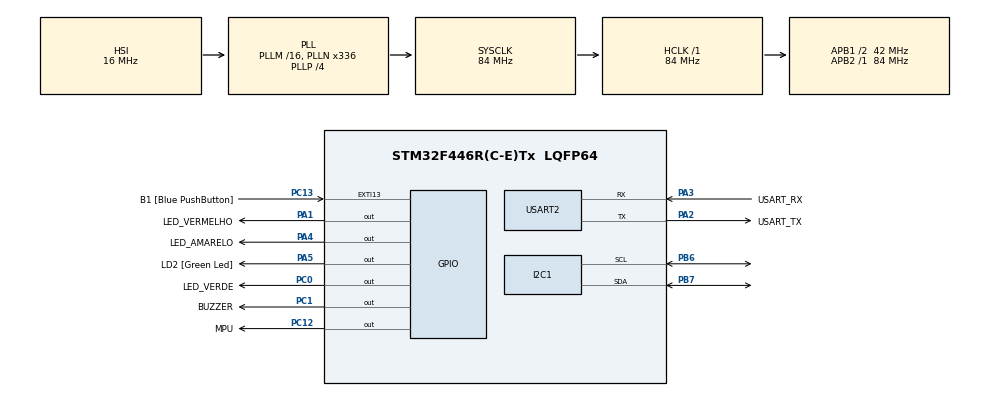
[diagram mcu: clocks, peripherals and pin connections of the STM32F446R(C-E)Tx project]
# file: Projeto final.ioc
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I2C1.I2C_Mode=I2C_Fast
Mcu.Family=STM32F4
Mcu.Name=STM32F446R(C-E)Tx
Mcu.Package=LQFP64
NVIC.PriorityGroup=NVIC_PRIORITYGROUP_0
NVIC.TIM2_IRQn=true\:0\:0\:false\:false\:true\:true\:true\:true
NVIC.USART2_IRQn=true\:0\:0\:false\:false\:true\:true\:true\:true
PA0-WKUP.Mode=SYS_WakeUp0
PA0-WKUP.Signal=SYS_WKUP0
PA1.GPIO_Label=LED_VERMELHO
PA1.Signal=GPIO_Output
PA13.GPIO_Label=TMS
PA13.Mode=Serial_Wire
PA13.Signal=SYS_JTMS-SWDIO
PA14.GPIO_Label=TCK
PA14.Mode=Serial_Wire
PA14.Signal=SYS_JTCK-SWCLK
PA2.GPIO_Label=USART_TX
PA2.Mode=Asynchronous
PA2.Signal=USART2_TX
PA3.GPIO_Label=USART_RX
PA3.Mode=Asynchronous
PA3.Signal=USART2_RX
PA4.GPIO_Label=LED_AMARELO
PA4.Signal=GPIO_Output
PA5.GPIO_Label=LD2 [Green Led]
PA5.Signal=GPIO_Output
PB3.GPIO_Label=SWO
PB3.Signal=SYS_JTDO-SWO
PB6.GPIO_Pu=GPIO_PULLUP
PB6.Mode=I2C
PB6.Signal=I2C1_SCL
PB7.GPIO_Pu=GPIO_PULLUP
PB7.Mode=I2C
PB7.Signal=I2C1_SDA
PC0.GPIO_Label=LED_VERDE
PC0.Signal=GPIO_Output
PC1.GPIO_Label=BUZZER
PC1.Signal=GPIO_Output
PC12.GPIO_Label=MPU
PC12.Signal=GPIO_Output
PC13.GPIO_Label=B1 [Blue PushButton]
PC13.GPIO_ModeDefaultEXTI=GPIO_MODE_IT_FALLING
PC13.Signal=GPXTI13
PC14-OSC32_IN.Mode=LSE-External-Oscillator
PC14-OSC32_IN.Signal=RCC_OSC32_IN
PC15-OSC32_OUT.Mode=LSE-External-Oscillator
PC15-OSC32_OUT.Signal=RCC_OSC32_OUT
PH0-OSC_IN.Mode=HSE-External-Oscillator
PH0-OSC_IN.Signal=RCC_OSC_IN
PH1-OSC_OUT.Mode=HSE-External-Oscillator
PH1-OSC_OUT.Signal=RCC_OSC_OUT
ProjectManager.HeapSize=0x200
ProjectManager.StackSize=0x400
ProjectManager.TargetToolchain=STM32CubeIDE
RCC.48MHZClocksFreq_Value=84000000
RCC.AHBFreq_Value=84000000
RCC.APB1CLKDivider=RCC_HCLK_DIV2
RCC.APB1Freq_Value=42000000
RCC.APB1TimFreq_Value=84000000
RCC.APB2Freq_Value=84000000
RCC.APB2TimFreq_Value=84000000
RCC.CortexFreq_Value=84000000
RCC.FLatency-AdvancedSettings=FLASH_LATENCY_2
RCC.HCLKFreq_Value=84000000
RCC.HSE_VALUE=8000000
RCC.HSI_VALUE=16000000
RCC.PLLN=336
RCC.PLLP=RCC_PLLP_DIV4
RCC.RCC_RTC_Clock_SourceVirtual=RCC_RTCCLKSOURCE_LSE
RCC.SYSCLKFreq_VALUE=84000000
RCC.SYSCLKSource=RCC_SYSCLKSOURCE_PLLCLK
RCC.USBFreq_Value=168000000
RCC.VCOOutputFreq_Value=336000000
RTC.WakeUpClock=RTC_WAKEUPCLOCK_CK_SPRE_16BITS
RTC.WakeUpCounter=9
TIM2.Period=4000-1
TIM2.Prescaler=83
USART2.VirtualMode=VM_ASYNC
VP_RTC_VS_RTC_Activate.Mode=RTC_Enabled
VP_RTC_VS_RTC_Calendar.Mode=RTC_Calendar
VP_RTC_VS_RTC_WakeUp_intern.Mode=WakeUp
VP_TIM2_VS_ClockSourceINT.Mode=Internal
board=NUCLEO-F446RE

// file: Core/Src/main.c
/* USER CODE BEGIN Header */
/**
  ******************************************************************************
  * @file           : main.c
  * @brief          : Main program body
  ******************************************************************************
  * @attention
  *
  * Copyright (c) 2026 STMicroelectronics.
  * All rights reserved.
  *
  * This software is licensed under terms that can be found in the LICENSE file
  * in the root directory of this software component.
  * If no LICENSE file comes with this software, it is provided AS-IS.
  *
  ******************************************************************************
  */
/* USER CODE END Header */
#include "main.h"

/* USER CODE BEGIN Includes */
#include <stdio.h>
#include <stdarg.h>
#include <string.h>
#include <stdint.h>

#include "MPU6050.h"
#include "ei_wrapper.h"
#include "RMS.h"

/* USER CODE END Includes */

/* USER CODE BEGIN PTD */
#define TEMPO_TURNO_SEGUNDOS  28800 // ou 28800 para 8 horas

#define AMOSTRAS_RMS 250
#define N_AMOSTRAS_IA (AMOSTRAS_RMS * 1 * 3)  // 750 = 250 amostras * 1 segundo * 3 param

#define MARGEM_RMS 1.1f // Limite tolerável de vibração (10%)

#define RMS_parado 10

/* USER CODE END PTD */

I2C_HandleTypeDef hi2c1;

RTC_HandleTypeDef hrtc;

TIM_HandleTypeDef htim2;

UART_HandleTypeDef huart2;

/* USER CODE BEGIN PV */
MPU6050_t mpu;

volatile uint8_t data_ready = 0;

//Buffer para guardar os dados para inferencia
float buffer_ia[N_AMOSTRAS_IA];
volatile int ind_buffer = 0;

//Buffer para guardar os dados para RMS
int buffer_rms_x[AMOSTRAS_RMS];
int buffer_rms_y[AMOSTRAS_RMS];
int buffer_rms_z[AMOSTRAS_RMS];
volatile int sample_index = 0;

const char* classes[] = {
		"instavel nivel 2", // indeciso
		"instavel nivel 3",
		"instavel nivel 1",
		"estavel",
		"instavel nivel 4", // indeciso
		"parado"
};
/* USER CODE END PV */

void SystemClock_Config(void);
static void MX_GPIO_Init(void);
static void MX_I2C1_Init(void);
static void MX_TIM2_Init(void);
static void MX_USART2_UART_Init(void);
static void MX_RTC_Init(void);

/* USER CODE BEGIN 0 */
void ei_printf(const char *format, ...) {
    // Não faz nada! Deixa a IA no modo silencioso.
}

int _write(int file, char *ptr, int len)
{
  // Função responsável por receber os dados da função printf() e enviar pela UART
    HAL_UART_Transmit(&huart2, (uint8_t*)ptr, len, HAL_MAX_DELAY);
    return len;
}

void emitir_sinal_alerta(){
	// Acende Leds e Buzzer para emitir um alerta
	HAL_GPIO_WritePin(GPIOC, BUZZER_Pin, GPIO_PIN_SET);
	HAL_Delay(500);

	HAL_GPIO_WritePin(GPIOA, LED_VERMELHO_Pin, GPIO_PIN_SET);
	HAL_Delay(1200);
	HAL_GPIO_WritePin(GPIOA, LED_VERMELHO_Pin, GPIO_PIN_RESET);
	HAL_Delay(1500);
	HAL_GPIO_WritePin(GPIOA, LED_VERMELHO_Pin, GPIO_PIN_SET);

	HAL_Delay(800);
	HAL_GPIO_WritePin(GPIOC, BUZZER_Pin, GPIO_PIN_RESET);
}

void emitir_sinal_atencao(){
	// Emite um sinal luminoso para indicar a realização de ações específicas

	HAL_GPIO_WritePin(GPIOA, LED_AMARELO_Pin, GPIO_PIN_SET);
	HAL_Delay(1500);
	HAL_GPIO_WritePin(GPIOA, LED_AMARELO_Pin, GPIO_PIN_RESET);
}

void emitir_sinal_sucesso(){
	// Emite um sinal luminoso para indicar que o sistema está funcionando corretamente
	HAL_GPIO_WritePin(GPIOC, LED_VERDE_Pin, GPIO_PIN_SET);
	HAL_Delay(1000);
	HAL_GPIO_WritePin(GPIOC, LED_VERDE_Pin, GPIO_PIN_RESET);
}

/* USER CODE END 0 */

int main(void)
{

  /* MCU Configuration--------------------------------------------------------*/

  /* Reset of all peripherals, Initializes the Flash interface and the Systick. */
  HAL_Init();

  /* Configure the system clock */
  SystemClock_Config();

  /* Initialize all configured peripherals */
  MX_GPIO_Init();
  MX_I2C1_Init();
  MX_TIM2_Init();
  MX_USART2_UART_Init();
  MX_RTC_Init();
  /* USER CODE BEGIN 2 */
    HAL_GPIO_WritePin(GPIOC, MPU_Pin, GPIO_PIN_SET); // Liga o MPU pelo transistor
    HAL_Delay(200);

	MPU6050_Init(&mpu, &hi2c1);

	uint8_t Data = 0;
	HAL_I2C_Mem_Write(&hi2c1, MPU6050_ADDR, 0x6B, 1, &Data, 1, 100); // Tira do Sleep
	HAL_I2C_Mem_Write(&hi2c1, MPU6050_ADDR, 0x19, 1, &Data, 1, 100); // Sample rate 1kHz

	HAL_Delay(200);

	if (HAL_I2C_IsDeviceReady(&hi2c1, 0x68 << 1, 3, 100) == HAL_OK){ // se o MPU está funcionando

		emitir_sinal_atencao();
		HAL_Delay(200);
		emitir_sinal_atencao();

		HAL_TIM_Base_Start_IT(&htim2); // Ativa o timer 2
		HAL_PWR_EnableBkUpAccess(); // Ativa o acesso aos dados de backup

		// Lê os dados do MPU
		uint8_t reading_sensor = 1;
		while (reading_sensor) {
			  if (data_ready == 1 && ind_buffer < N_AMOSTRAS_IA) {

				// Atualiza as leituras (Accel e Gyro)
				MPU6050_Update(&mpu);

				// Obtem os dados do MPU
				int ac_x = (int)(mpu.Ax * 1000.0f);
				int ac_y = (int)(mpu.Ay * 1000.0f);
				int ac_z = (int)(mpu.Az * 1000.0f);

				// Guarda os dados coletados nos buffers
				buffer_ia[ind_buffer++] = (float)ac_x;
				buffer_ia[ind_buffer++] = (float)ac_y;
				buffer_ia[ind_buffer++] = (float)ac_z;

				buffer_rms_x[sample_index] = ac_x;
				buffer_rms_y[sample_index] = ac_y;
				buffer_rms_z[sample_index] = ac_z;
				sample_index++;

				// Quando o buffer estiver cheio, sae do loop e faz a inferencia
				if (ind_buffer >= N_AMOSTRAS_IA){
					reading_sensor = 0;
				}

				printf("{\"status\": \"RAW_DATA\", \"message\": \"\", \"data\": {\"x\": %d, \"y\": %d, \"z\": %d} }\r\n", ac_x, ac_y, ac_z);

				data_ready = 0; // baixa a flag
			  }
		}

		HAL_TIM_Base_Stop_IT(&htim2); // para o timer 2
		HAL_Delay(100);

		int result = executar_inferencia(buffer_ia);
		int RMS = calcular_RMS(buffer_rms_x, buffer_rms_y, buffer_rms_z, (int)AMOSTRAS_RMS);

		ind_buffer = 0;
		sample_index = 0;

		// Verifica se o micro acordou pelo standby
		if (__HAL_PWR_GET_FLAG(PWR_FLAG_SB) != RESET){
			// Limpa as flags de Standby e Wakeup
			__HAL_PWR_CLEAR_FLAG(PWR_FLAG_SB);
			__HAL_PWR_CLEAR_FLAG(PWR_FLAG_WU);

			// Começa a parte da decisão do estado do motor
			// Lê o RMS calibrado salvo no RTC Backup Register 1
			uint32_t valor_lido_flash = HAL_RTCEx_BKUPRead(&hrtc, RTC_BKP_DR1);
			int rms_calibrado = (int)valor_lido_flash;

			// Verifica se houve erro durante a calibração
			if (rms_calibrado <= 0){
				printf("{\"status\": \"ERRO\", \"message\": \"RMS Nao Calibrado. Necessario Nova Calibracao. Reset o Sistema\"}\r\n");
				emitir_sinal_alerta();
				HAL_Delay(200);
				emitir_sinal_alerta();

			} else {
				// Se está tudo certo com a calibração
				float rms_error = (rms_calibrado * MARGEM_RMS);

				if ((result == 3 || result == 5) && RMS <= rms_error){
					// Motor parado e RMS dentro da margem aceitável
					printf("{\"status\": \"OK\", \"message\": \"Motor e RMS Estaveis\", \"data\": {\"RMS\": %d, \"RMS_medio\": %d, \"RMS_limite\": %d, \"Classe\": \"%s\"}}\r\n",
					       RMS, (int)rms_calibrado, (int)rms_error, "Estavel");
					emitir_sinal_sucesso();
					HAL_Delay(200);
					emitir_sinal_sucesso();
				}

				else if ((result != 3 && result != 5) && RMS > rms_error){
					// Motor Instável e RMS Instável
					printf("{\"status\": \"ERRO\", \"message\": \"Motor e RMS Instavels. Verificar Saude do Motor\", \"data\": {\"RMS\": %d,  \"RMS_medio\": %d, \"RMS_limite\": %d, \"Classe\": \"%s\"}}\r\n",
					       RMS,(int)rms_calibrado, (int)rms_error, "Instavel");
					emitir_sinal_alerta();
					HAL_Delay(200);
					emitir_sinal_alerta();
				}

				else {
					// Falha na Inferência do Motor ou do Calculo do RMS
					// Pode indicar inicio de anomalia
					printf("{\"status\": \"ERRO\", \"message\": \"Motor OU RMS Instavels. Falha em uma das Leituras. Verificar Saude do Motor e do Sistema\", \"data\": {\"RMS\": %d,  \"RMS_medio\": %d, \"RMS_limite\": %d, \"Classe\": \"%s\"}}\r\n",
					       RMS, (int)rms_calibrado, (int)rms_error, classes[result]);
					emitir_sinal_alerta();
					HAL_Delay(200);
					emitir_sinal_alerta();
				}
			}

		} else { 	// Primeia vez ligado ou Reset de hardware
			// Calibra o RMS para o valor decidido pelo TinyML
			HAL_Delay(5000);

			printf("{\"status\": \"OK\", \"message\": \"Iniciando Calibracao do Sistema\"}\r\n");

				// Salva o RMS correspondente ao estado estável do motor em um registrador de backup
				uint32_t valor_para_salvar = (uint32_t)RMS;
				HAL_RTCEx_BKUPWrite(&hrtc, RTC_BKP_DR1, valor_para_salvar);

				// Indica fim de calibração
				printf("{\"status\": \"OK\", \"message\": \"RMS Calibrado para Motor Estável\", \"data\": {\"RMS_medio\": %d}}\r\n", (int)RMS);

				emitir_sinal_sucesso();
				HAL_Delay(200);
				emitir_sinal_sucesso();
		}

	}
	else{
		// emitir alerta para reset do MPU
		printf("{\"status\": \"ERRO\", \"message\": \"MPU Nao Detectado. Atencao Imediata\"}\r\n");

		__HAL_PWR_CLEAR_FLAG(PWR_FLAG_SB); // Reseta flag de wakeup

		emitir_sinal_alerta();
		HAL_Delay(200);
		emitir_sinal_alerta();

	}

	HAL_Delay(100);

	printf("{\"status\": \"OK\", \"message\": \"Entrando em StandBy\"}\r\n");

	HAL_GPIO_WritePin(GPIOC, MPU_Pin, GPIO_PIN_RESET); // Desliga o MPU pelo transistor

	HAL_RTCEx_DeactivateWakeUpTimer(&hrtc);
	__HAL_PWR_CLEAR_FLAG(PWR_FLAG_WU);

	// Reseta as interrupções de Wakeup
	HAL_PWR_EnableWakeUpPin(PWR_WAKEUP_PIN1);
	HAL_RTCEx_SetWakeUpTimer_IT(&hrtc, TEMPO_TURNO_SEGUNDOS - 1, RTC_WAKEUPCLOCK_CK_SPRE_16BITS);

	// Entra em StandBy
	HAL_PWR_EnterSTANDBYMode();

  /* USER CODE END 2 */

  /* Infinite loop */
  while (1)
  {

  }
}

void SystemClock_Config(void)
{
  RCC_OscInitTypeDef RCC_OscInitStruct = {0};
  RCC_ClkInitTypeDef RCC_ClkInitStruct = {0};

  /** Configure the main internal regulator output voltage
  */
  __HAL_RCC_PWR_CLK_ENABLE();
  __HAL_PWR_VOLTAGESCALING_CONFIG(PWR_REGULATOR_VOLTAGE_SCALE3);

  /** Initializes the RCC Oscillators according to the specified parameters
  * in the RCC_OscInitTypeDef structure.
  */
  RCC_OscInitStruct.OscillatorType = RCC_OSCILLATORTYPE_HSI|RCC_OSCILLATORTYPE_LSE;
  RCC_OscInitStruct.LSEState = RCC_LSE_ON;
  RCC_OscInitStruct.HSIState = RCC_HSI_ON;
  RCC_OscInitStruct.HSICalibrationValue = RCC_HSICALIBRATION_DEFAULT;
  RCC_OscInitStruct.PLL.PLLState = RCC_PLL_ON;
  RCC_OscInitStruct.PLL.PLLSource = RCC_PLLSOURCE_HSI;
  RCC_OscInitStruct.PLL.PLLM = 16;
  RCC_OscInitStruct.PLL.PLLN = 336;
  RCC_OscInitStruct.PLL.PLLP = RCC_PLLP_DIV4;
  RCC_OscInitStruct.PLL.PLLQ = 2;
  RCC_OscInitStruct.PLL.PLLR = 2;
  if (HAL_RCC_OscConfig(&RCC_OscInitStruct) != HAL_OK)
  {
    Error_Handler();
  }

  /** Initializes the CPU, AHB and APB buses clocks
  */
  RCC_ClkInitStruct.ClockType = RCC_CLOCKTYPE_HCLK|RCC_CLOCKTYPE_SYSCLK
                              |RCC_CLOCKTYPE_PCLK1|RCC_CLOCKTYPE_PCLK2;
  RCC_ClkInitStruct.SYSCLKSource = RCC_SYSCLKSOURCE_PLLCLK;
  RCC_ClkInitStruct.AHBCLKDivider = RCC_SYSCLK_DIV1;
  RCC_ClkInitStruct.APB1CLKDivider = RCC_HCLK_DIV2;
  RCC_ClkInitStruct.APB2CLKDivider = RCC_HCLK_DIV1;

  if (HAL_RCC_ClockConfig(&RCC_ClkInitStruct, FLASH_LATENCY_2) != HAL_OK)
  {
    Error_Handler();
  }
}

static void MX_I2C1_Init(void)
{

  hi2c1.Instance = I2C1;
  hi2c1.Init.ClockSpeed = 400000;
  hi2c1.Init.DutyCycle = I2C_DUTYCYCLE_2;
  hi2c1.Init.OwnAddress1 = 0;
  hi2c1.Init.AddressingMode = I2C_ADDRESSINGMODE_7BIT;
  hi2c1.Init.DualAddressMode = I2C_DUALADDRESS_DISABLE;
  hi2c1.Init.OwnAddress2 = 0;
  hi2c1.Init.GeneralCallMode = I2C_GENERALCALL_DISABLE;
  hi2c1.Init.NoStretchMode = I2C_NOSTRETCH_DISABLE;
  if (HAL_I2C_Init(&hi2c1) != HAL_OK)
  {
    Error_Handler();
  }

}

static void MX_RTC_Init(void)
{

  RTC_TimeTypeDef sTime = {0};
  RTC_DateTypeDef sDate = {0};

  /** Initialize RTC Only
  */
  hrtc.Instance = RTC;
  hrtc.Init.HourFormat = RTC_HOURFORMAT_24;
  hrtc.Init.AsynchPrediv = 127;
  hrtc.Init.SynchPrediv = 255;
  hrtc.Init.OutPut = RTC_OUTPUT_DISABLE;
  hrtc.Init.OutPutPolarity = RTC_OUTPUT_POLARITY_HIGH;
  hrtc.Init.OutPutType = RTC_OUTPUT_TYPE_OPENDRAIN;
  if (HAL_RTC_Init(&hrtc) != HAL_OK)
  {
    Error_Handler();
  }

  /** Initialize RTC and set the Time and Date
  */
  sTime.Hours = 0x0;
  sTime.Minutes = 0x0;
  sTime.Seconds = 0x0;
  sTime.DayLightSaving = RTC_DAYLIGHTSAVING_NONE;
  sTime.StoreOperation = RTC_STOREOPERATION_RESET;
  if (HAL_RTC_SetTime(&hrtc, &sTime, RTC_FORMAT_BCD) != HAL_OK)
  {
    Error_Handler();
  }
  sDate.WeekDay = RTC_WEEKDAY_MONDAY;
  sDate.Month = RTC_MONTH_JANUARY;
  sDate.Date = 0x1;
  sDate.Year = 0x0;

  if (HAL_RTC_SetDate(&hrtc, &sDate, RTC_FORMAT_BCD) != HAL_OK)
  {
    Error_Handler();
  }

  /** Enable the WakeUp
  */
  if (HAL_RTCEx_SetWakeUpTimer(&hrtc, 9, RTC_WAKEUPCLOCK_CK_SPRE_16BITS) != HAL_OK)
  {
    Error_Handler();
  }

}

static void MX_TIM2_Init(void)
{

  TIM_ClockConfigTypeDef sClockSourceConfig = {0};
  TIM_MasterConfigTypeDef sMasterConfig = {0};

  htim2.Instance = TIM2;
  htim2.Init.Prescaler = 83;
  htim2.Init.CounterMode = TIM_COUNTERMODE_UP;
  htim2.Init.Period = 4000-1;
  htim2.Init.ClockDivision = TIM_CLOCKDIVISION_DIV1;
  htim2.Init.AutoReloadPreload = TIM_AUTORELOAD_PRELOAD_DISABLE;
  if (HAL_TIM_Base_Init(&htim2) != HAL_OK)
  {
    Error_Handler();
  }
  sClockSourceConfig.ClockSource = TIM_CLOCKSOURCE_INTERNAL;
  if (HAL_TIM_ConfigClockSource(&htim2, &sClockSourceConfig) != HAL_OK)
  {
    Error_Handler();
  }
  sMasterConfig.MasterOutputTrigger = TIM_TRGO_RESET;
  sMasterConfig.MasterSlaveMode = TIM_MASTERSLAVEMODE_DISABLE;
  if (HAL_TIMEx_MasterConfigSynchronization(&htim2, &sMasterConfig) != HAL_OK)
  {
    Error_Handler();
  }

}

static void MX_USART2_UART_Init(void)
{

  huart2.Instance = USART2;
  huart2.Init.BaudRate = 115200;
  huart2.Init.WordLength = UART_WORDLENGTH_8B;
  huart2.Init.StopBits = UART_STOPBITS_1;
  huart2.Init.Parity = UART_PARITY_NONE;
  huart2.Init.Mode = UART_MODE_TX_RX;
  huart2.Init.HwFlowCtl = UART_HWCONTROL_NONE;
  huart2.Init.OverSampling = UART_OVERSAMPLING_16;
  if (HAL_UART_Init(&huart2) != HAL_OK)
  {
    Error_Handler();
  }

}

static void MX_GPIO_Init(void)
{
  GPIO_InitTypeDef GPIO_InitStruct = {0};

  /* GPIO Ports Clock Enable */
  __HAL_RCC_GPIOC_CLK_ENABLE();
  __HAL_RCC_GPIOH_CLK_ENABLE();
  __HAL_RCC_GPIOA_CLK_ENABLE();
  __HAL_RCC_GPIOB_CLK_ENABLE();

  /*Configure GPIO pin Output Level */
  HAL_GPIO_WritePin(GPIOC, LED_VERDE_Pin|BUZZER_Pin|MPU_Pin, GPIO_PIN_RESET);

  /*Configure GPIO pin Output Level */
  HAL_GPIO_WritePin(GPIOA, LED_VERMELHO_Pin|LED_AMARELO_Pin|LD2_Pin, GPIO_PIN_RESET);

  /*Configure GPIO pin : B1_Pin */
  GPIO_InitStruct.Pin = B1_Pin;
  GPIO_InitStruct.Mode = GPIO_MODE_IT_FALLING;
  GPIO_InitStruct.Pull = GPIO_NOPULL;
  HAL_GPIO_Init(B1_GPIO_Port, &GPIO_InitStruct);

  /*Configure GPIO pins : LED_VERDE_Pin BUZZER_Pin MPU_Pin */
  GPIO_InitStruct.Pin = LED_VERDE_Pin|BUZZER_Pin|MPU_Pin;
  GPIO_InitStruct.Mode = GPIO_MODE_OUTPUT_PP;
  GPIO_InitStruct.Pull = GPIO_NOPULL;
  GPIO_InitStruct.Speed = GPIO_SPEED_FREQ_LOW;
  HAL_GPIO_Init(GPIOC, &GPIO_InitStruct);

  /*Configure GPIO pins : LED_VERMELHO_Pin LED_AMARELO_Pin LD2_Pin */
  GPIO_InitStruct.Pin = LED_VERMELHO_Pin|LED_AMARELO_Pin|LD2_Pin;
  GPIO_InitStruct.Mode = GPIO_MODE_OUTPUT_PP;
  GPIO_InitStruct.Pull = GPIO_NOPULL;
  GPIO_InitStruct.Speed = GPIO_SPEED_FREQ_LOW;
  HAL_GPIO_Init(GPIOA, &GPIO_InitStruct);

}

/* USER CODE BEGIN 4 */
void HAL_TIM_PeriodElapsedCallback(TIM_HandleTypeDef *htim) {
    if (htim->Instance == TIM2) {
        data_ready = 1;
    }
}

/* USER CODE END 4 */

void Error_Handler(void)
{
  __disable_irq();
  while (1)
  {
  }
}
